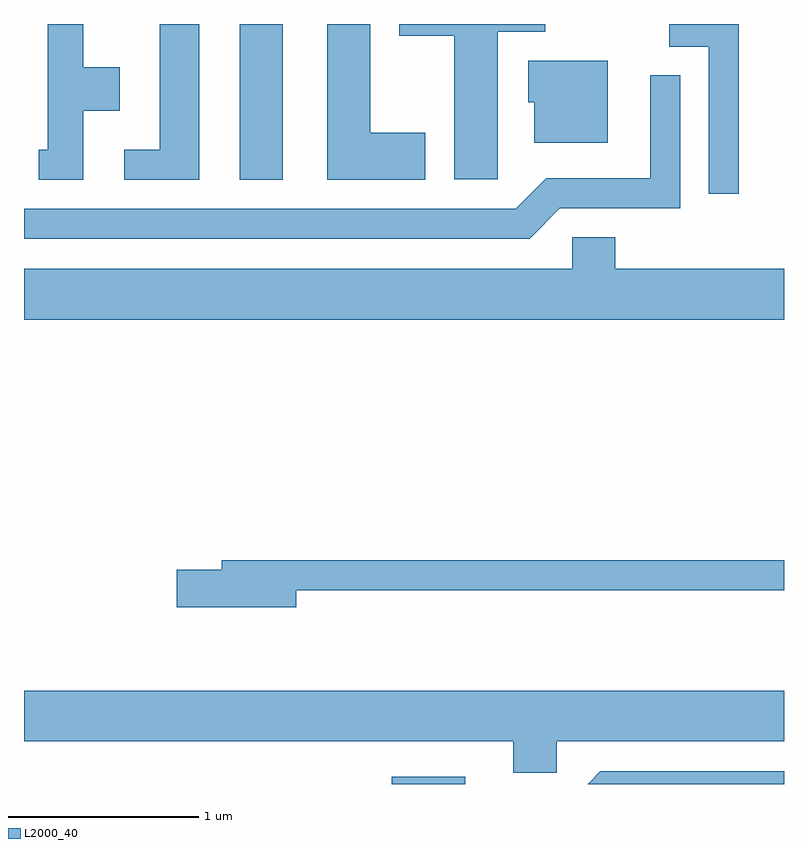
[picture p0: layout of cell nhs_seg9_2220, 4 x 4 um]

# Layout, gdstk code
import gdstk
lib = gdstk.Library(unit=1e-6, precision=1e-09)
def R(c, l, rs):  # rectangles x0, y0, x1, y1
    for r in rs: c.add(gdstk.rectangle(r[:2], r[2:], *l))
def P(c, l, *ps):  # polygons
    for p in ps: c.add(gdstk.Polygon(p, *l))
L2000_40 = (2000, 40)

nhs_seg9_2220 = lib.new_cell('nhs_seg9_2220')
R(nhs_seg9_2220, L2000_40, [(251.546,2040.432,251.933,2040.469), (250.746,2043.611,250.974,2044.432)])
P(nhs_seg9_2220, L2000_40, [(253.374,2044.432),(253.006,2044.432),(253.006,2044.311),(253.216,2044.311),(253.216,2043.538),(253.374,2043.538)],
  [(252.104,2044.391),(252.354,2044.391),(252.354,2044.432),(251.586,2044.432),(251.586,2044.371),(251.876,2044.371),(251.876,2043.616),(252.104,2043.616)],
  [(249.924,2043.976),(250.114,2043.976),(250.114,2044.204),(249.924,2044.204),(249.924,2044.432),(249.736,2044.432),(249.736,2043.769),(249.688,2043.769),(249.688,2043.611),(249.924,2043.611)],
  [(250.534,2044.432),(250.326,2044.432),(250.326,2043.769),(250.138,2043.769),(250.138,2043.611),(250.534,2043.611)],
  [(251.724,2043.859),(251.434,2043.859),(251.434,2044.432),(251.206,2044.432),(251.206,2043.611),(251.724,2043.611)],
  [(252.684,2044.239),(252.266,2044.239),(252.266,2044.021),(252.296,2044.021),(252.296,2043.806),(252.684,2043.806)],
  [(252.432,2043.461),(253.064,2043.461),(253.064,2044.163),(252.906,2044.163),(252.906,2043.619),(252.359,2043.619),(252.199,2043.459),(249.611,2043.459),(249.611,2043.301),(252.272,2043.301)],
  [(253.611,2043.144),(252.724,2043.144),(252.724,2043.309),(252.496,2043.309),(252.496,2043.144),(249.611,2043.144),(249.611,2042.876),(253.611,2042.876)],
  [(251.044,2041.451),(253.611,2041.451),(253.611,2041.609),(250.651,2041.609),(250.651,2041.559),(250.416,2041.559),(250.416,2041.361),(251.044,2041.361)],
  [(252.414,2040.656),(253.611,2040.656),(253.611,2040.924),(249.611,2040.924),(249.611,2040.656),(252.186,2040.656),(252.186,2040.491),(252.414,2040.491)],
  [(253.611,2040.499),(252.644,2040.499),(252.577,2040.432),(253.611,2040.432)])

lib.write_gds('nhs_seg9_2220.gds')
